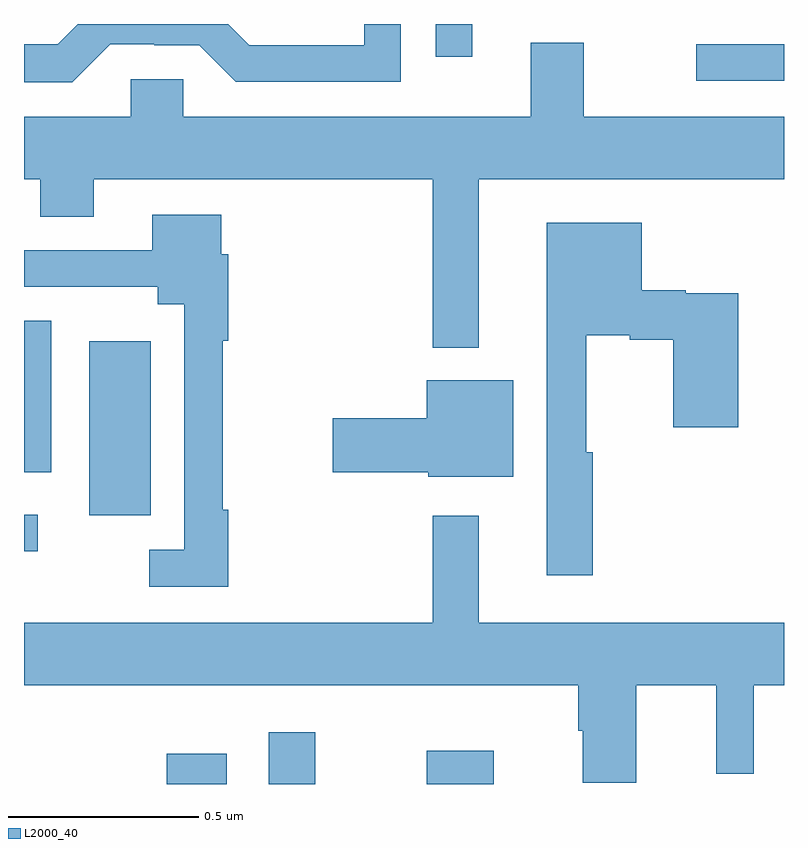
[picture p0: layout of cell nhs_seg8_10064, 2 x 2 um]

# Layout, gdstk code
import gdstk
lib = gdstk.Library(unit=1e-6, precision=1e-09)
def R(c, l, rs):  # rectangles x0, y0, x1, y1
    for r in rs: c.add(gdstk.rectangle(r[:2], r[2:], *l))
def P(c, l, *ps):  # polygons
    for p in ps: c.add(gdstk.Polygon(p, *l))
L2000_40 = (2000, 40)

nhs_seg8_10064 = lib.new_cell('nhs_seg8_10064')
R(nhs_seg8_10064, L2000_40, [(244.376,1122.9,244.534,1122.979), (244.644,1122.9,244.767,1123.036), (245.06,1122.9,245.236,1122.988), (244,1123.512,244.036,1123.608), (244.172,1123.607,244.333,1124.065), (244,1123.721,244.072,1124.119), (245.769,1124.751,246,1124.847), (245.083,1124.814,245.179,1124.9)])
P(nhs_seg8_10064, L2000_40, [(244.227,1124.847),(244.343,1124.847),(244.343,1124.844),(244.461,1124.844),(244.557,1124.748),(244.992,1124.748),(244.992,1124.9),(244.896,1124.9),(244.896,1124.844),(244.593,1124.844),(244.537,1124.9),(244.142,1124.9),(244.089,1124.847),(244,1124.847),(244,1124.747),(244.127,1124.747)],
  [(245.197,1124.492),(246,1124.492),(246,1124.656),(245.473,1124.656),(245.473,1124.851),(245.333,1124.851),(245.333,1124.656),(244.419,1124.656),(244.419,1124.754),(244.281,1124.754),(244.281,1124.656),(244,1124.656),(244,1124.492),(244.043,1124.492),(244.043,1124.393),(244.183,1124.393),(244.183,1124.492),(245.076,1124.492),(245.076,1124.048),(245.197,1124.048)],
  [(244.538,1123.622),(244.523,1123.622),(244.523,1124.066),(244.538,1124.066),(244.538,1124.294),(244.519,1124.294),(244.519,1124.398),(244.337,1124.398),(244.337,1124.304),(244,1124.304),(244,1124.208),(244.352,1124.208),(244.352,1124.162),(244.422,1124.162),(244.422,1123.516),(244.329,1123.516),(244.329,1123.419),(244.538,1123.419)],
  [(245.497,1123.773),(245.479,1123.773),(245.479,1124.081),(245.594,1124.081),(245.594,1124.069),(245.708,1124.069),(245.708,1123.839),(245.879,1123.839),(245.879,1124.191),(245.742,1124.191),(245.742,1124.199),(245.626,1124.199),(245.626,1124.377),(245.375,1124.377),(245.375,1123.449),(245.497,1123.449)],
  [(245.287,1123.963),(245.06,1123.963),(245.06,1123.862),(244.812,1123.862),(244.812,1123.72),(245.064,1123.72),(245.064,1123.709),(245.287,1123.709)],
  [(245.611,1123.16),(245.822,1123.16),(245.822,1122.927),(245.921,1122.927),(245.921,1123.16),(246,1123.16),(246,1123.324),(245.197,1123.324),(245.197,1123.606),(245.076,1123.606),(245.076,1123.324),(244,1123.324),(244,1123.16),(245.459,1123.16),(245.459,1123.04),(245.471,1123.04),(245.471,1122.903),(245.611,1122.903)])

lib.write_gds('nhs_seg8_10064.gds')
